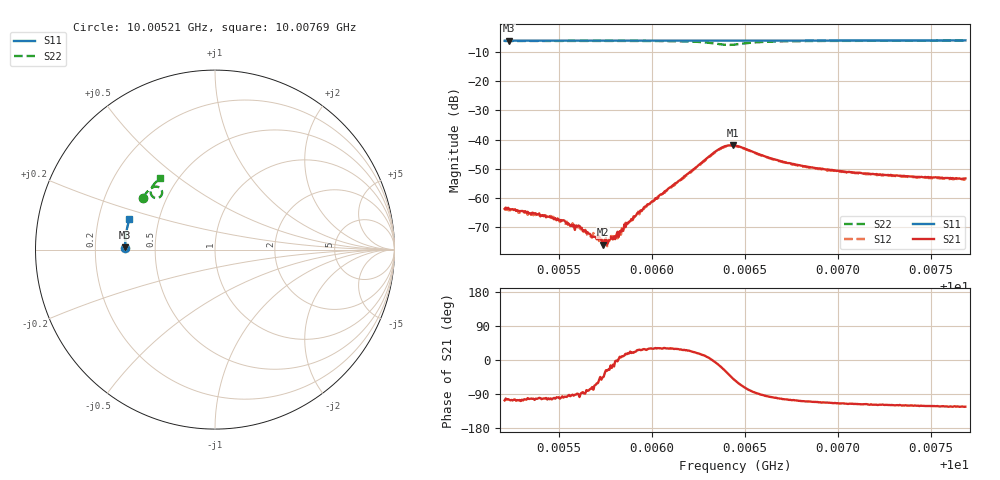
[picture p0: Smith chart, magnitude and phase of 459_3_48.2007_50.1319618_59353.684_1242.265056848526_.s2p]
#  HZ  S  RI  R  50.00
! Rohde & Schwarz Vector Network Analyzer
! Rohde-Schwarz,ZNB20-2Port,1311601062101988,3.16
! Created: UTC 3/20/2024, 11:56:40 AM
! freq[Hz]  re:S11  im:S11  re:S21  im:S21  re:S12  im:S12  re:S22  im:S22
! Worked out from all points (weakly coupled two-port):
!   401 points, 10.00521 GHz to 10.00769 GHz, reference 50 ohm
!   highest |S21| = -41.97 dB at 10.00644 GHz (marker M1); lowest = -76.1 dB at 10.00573 GHz (marker M2)
!   lowest |S11| = -6.0 dB at 10.00523 GHz (marker M3), VSWR 3.00, Z = 16.6 + j0.534 ohm
!   |S11| at or under -10 dB: nowhere
!   |S22| runs from -7.5 to -6.0 dB; largest |S21 - S12| = 0.00052
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1.0005208e10  -0.5006 0.0106  -0.000183 -0.000615  -0.000124 -0.000613  -0.4019 0.2894
1.0005233e10  -0.5005 0.012  -0.000163 -0.000622  -0.000126 -0.000593  -0.401 0.2909
1.0005468e10  -0.5004 0.0274  -8.8e-05 -0.000434  -3.01e-05 -0.000469  -0.3912 0.3049
1.0005605e10  -0.5001 0.0363  2.43e-07 -0.000332  6.48e-06 -0.000307  -0.3851 0.313
1.0005623e10  -0.5001 0.0375  1.92e-05 -0.000294  3.32e-05 -0.000301  -0.3843 0.3143
1.0005667e10  -0.5 0.0403  5.44e-05 -0.000232  9.01e-05 -0.000209  -0.3821 0.3168
1.0005698e10  -0.4998 0.0423  8.67e-05 -0.000192  0.000119 -0.000197  -0.3804 0.3188
1.0005735e10  -0.4997 0.0448  0.000109 -0.000112  0.000123 -0.000108  -0.3786 0.321
1.000576e10  -0.4996 0.0465  0.000139 -7.45e-05  0.000131 -6.57e-05  -0.3772 0.3226
1.0005784e10  -0.4995 0.0479  0.000184 -7.04e-05  0.000208 -6.86e-05  -0.3759 0.3243
1.0005822e10  -0.4994 0.0504  0.000212 9.62e-06  0.000208 4.84e-05  -0.3737 0.3265
1.0005853e10  -0.4992 0.0524  0.000341 7.26e-05  0.000286 0.000115  -0.3717 0.3286
1.000597e10  -0.4987 0.06  0.000644 0.000322  0.000581 0.000389  -0.3634 0.3364
1.0006039e10  -0.4982 0.0645  0.000923 0.000554  0.000854 0.000533  -0.3575 0.341
1.0006349e10  -0.4953 0.0843  0.00634 -0.000942  0.00619 -0.000563  -0.2966 0.3301
1.0006392e10  -0.4948 0.0869  0.00678 -0.00349  0.00679 -0.00309  -0.2966 0.307
1.0006435e10  -0.4945 0.0893  0.0053 -0.00595  0.00552 -0.00555  -0.3136 0.2891
1.0006448e10  -0.4942 0.0902  0.00464 -0.00636  0.0049 -0.00596  -0.3202 0.2873
1.0006659e10  -0.4927 0.1036  -0.000734 -0.00452  -0.000508 -0.00444  -0.3583 0.3264
1.0006863e10  -0.4903 0.1167  -0.00115 -0.0031  -0.00099 -0.00312  -0.3498 0.3503
1.0007279e10  -0.4843 0.1429  -0.00117 -0.00212  -0.00107 -0.00217  -0.3283 0.3774
1.0007688e10  -0.477 0.1682  -0.00118 -0.00179  -0.00105 -0.00177  -0.3073 0.3978
